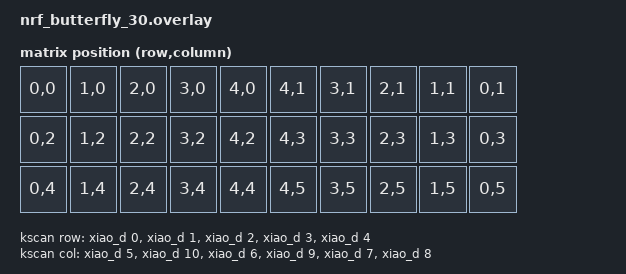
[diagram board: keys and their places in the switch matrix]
// Unibody (non-split) 30-key board, single Seeeduino XIAO BLE.
//
// Electrical matrix is 5 sense lines (xiao_d 0-4) x 6 drive lines
// (xiao_d 5,10,6,9,7,8), 30 keys. Scanning is ACTIVE-LOW: each drive line is
// pulsed low while the sense lines are read through internal pull-ups (a
// pressed key reads low), matching this board's known-good Arduino firmware.
// The switch diodes conduct from the sense lines toward the drive lines, so
// the drive lines have to be the driven outputs -- in ZMK's kscan-gpio-matrix
// that is diode-direction = "col2row" (outputs = col-gpios = the drive lines,
// inputs = row-gpios = the sense lines). Note the active-low/pull-up polarity:
// xiao_split_60 wires its diodes the other way and scans active-high, so do not
// copy that shield's GPIO flags here.
//
// Each physical row of 10 keys is wired as a left half on one drive pin and a
// right half (mirrored) on the paired drive pin -- see the matrix-transform map
// below, which reads out in normal left-to-right, top-to-bottom physical order
// regardless of the underlying wiring.

#include <dt-bindings/zmk/matrix_transform.h>

#include "nrf_butterfly_30-layouts.dtsi"

/ {
    chosen {
        zmk,physical-layout = &default_layout;
        zmk,kscan = &kscan;
    };

    kscan: kscan {
        compatible = "zmk,kscan-gpio-matrix";
        diode-direction = "col2row";
        wakeup-source;

        col-gpios
            = <&xiao_d 5 GPIO_ACTIVE_LOW>
            , <&xiao_d 10 GPIO_ACTIVE_LOW>
            , <&xiao_d 6 GPIO_ACTIVE_LOW>
            , <&xiao_d 9 GPIO_ACTIVE_LOW>
            , <&xiao_d 7 GPIO_ACTIVE_LOW>
            , <&xiao_d 8 GPIO_ACTIVE_LOW>
            ;

        row-gpios
            = <&xiao_d 0 (GPIO_ACTIVE_LOW | GPIO_PULL_UP)>
            , <&xiao_d 1 (GPIO_ACTIVE_LOW | GPIO_PULL_UP)>
            , <&xiao_d 2 (GPIO_ACTIVE_LOW | GPIO_PULL_UP)>
            , <&xiao_d 3 (GPIO_ACTIVE_LOW | GPIO_PULL_UP)>
            , <&xiao_d 4 (GPIO_ACTIVE_LOW | GPIO_PULL_UP)>
            ;
    };

    default_transform: default_transform {
        compatible = "zmk,matrix-transform";
        columns = <6>;
        rows = <5>;

        map = <
            RC(0,0) RC(1,0) RC(2,0) RC(3,0) RC(4,0)    RC(4,1) RC(3,1) RC(2,1) RC(1,1) RC(0,1)
            RC(0,2) RC(1,2) RC(2,2) RC(3,2) RC(4,2)    RC(4,3) RC(3,3) RC(2,3) RC(1,3) RC(0,3)
            RC(0,4) RC(1,4) RC(2,4) RC(3,4) RC(4,4)    RC(4,5) RC(3,5) RC(2,5) RC(1,5) RC(0,5)
        >;
    };
};
